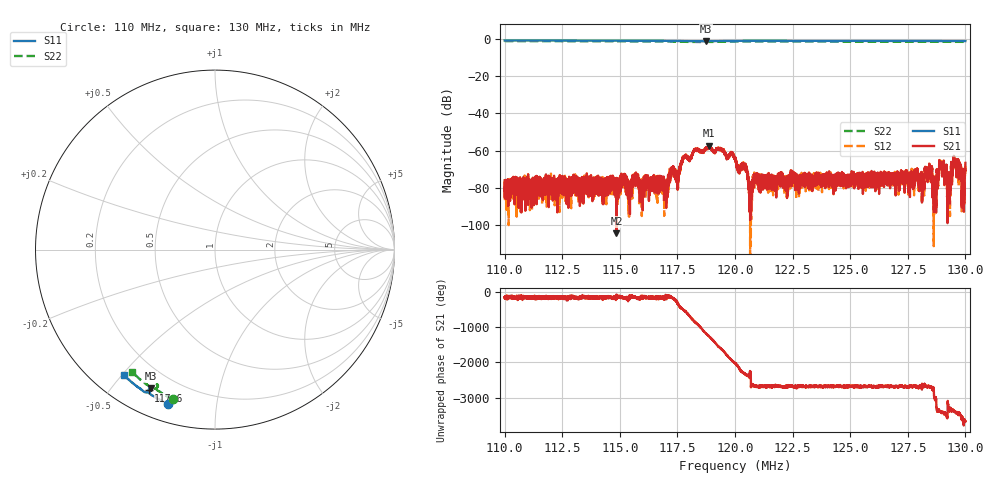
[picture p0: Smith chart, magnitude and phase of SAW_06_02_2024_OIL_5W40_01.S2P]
!Agilent Technologies,E5071C,MY46520923,B.12.03
!Date: Wed Feb 07 10:39:57 2024
!Data & Calibration Information:
!Freq	S11:SOLT2(ON)	S21:SOLT2(ON)	S12:SOLT2(ON)	S22:SOLT2(ON)
!PortZ  Port1:50+j0  Port2:50+j0
!Above PortZ is port z conversion or system Z0 setting when saving the data.
!When reading, reference impedance value at option line is always used.
# Hz S dB R 50
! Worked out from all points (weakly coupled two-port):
!   10000 points, 110 MHz to 130 MHz, reference 50 ohm
!   highest |S21| = -57.34 dB at 118.9 MHz (marker M1); lowest = -104.3 dB at 114.9 MHz (marker M2)
!   lowest |S11| = -1.4 dB at 118.7 MHz (marker M3), VSWR 12.38, Z = 5.68 - j31.7 ohm
!   |S11| at or under -10 dB: nowhere
!   |S22| runs from -1.7 to -1.3 dB; largest |S21 - S12| = 0.00019
!   S11 on the Smith chart (normalised r, x): 110 MHz: 0.08, -0.74; 117.6 MHz: 0.10, -0.63; 130 MHz: 0.09, -0.51
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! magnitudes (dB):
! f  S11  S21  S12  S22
! 110 MHz  -0.9  -76.0  -77.6  -1.3
! 113.3 MHz  -1.0  -80.3  -79.2  -1.3
! 114.9 MHz  -1.0  -104.3  -85.5  -1.4
! 116.7 MHz  -1.1  -79.0  -79.6  -1.5
! 117 MHz  -1.1  -81.7  -82.9  -1.5
! 117.6 MHz  -1.2  -70.2  -69.3  -1.6
! 117.8 MHz  -1.3  -63.7  -63.5  -1.7
! 118.7 MHz  -1.4  -58.8  -59.0  -1.7
! 118.9 MHz  -1.4  -57.3  -57.7  -1.7
! 120 MHz  -1.2  -64.3  -64.1  -1.5
! 120.4 MHz  -1.1  -67.5  -69.6  -1.4
! 120.7 MHz  -1.1  -89.5  -87.1  -1.4
! 123.3 MHz  -1.1  -72.8  -77.1  -1.5
! 126.7 MHz  -1.2  -75.1  -71.5  -1.6
! 128.1 MHz  -1.2  -79.4  -79.4  -1.6
! 128.5 MHz  -1.2  -72.2  -73.2  -1.6
! 128.7 MHz  -1.2  -78.1  -75.2  -1.7
! 129 MHz  -1.2  -68.7  -68.4  -1.7
! 129.3 MHz  -1.3  -76.4  -73.5  -1.7
! 129.6 MHz  -1.3  -65.7  -65.5  -1.7
! 129.9 MHz  -1.3  -74.1  -74.5  -1.7
! 130 MHz  -1.3  -66.6  -68.1  -1.7
